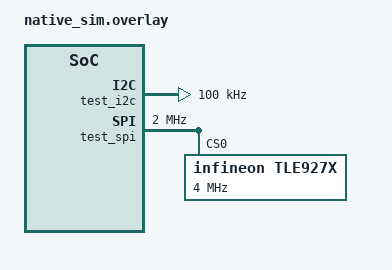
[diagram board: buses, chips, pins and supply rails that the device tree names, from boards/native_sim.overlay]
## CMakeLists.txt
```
# Copyright (c) 2023 Nordic Semiconductor ASA
# SPDX-License-Identifier: Apache-2.0

cmake_minimum_required(VERSION 3.28.0)
find_package(Zephyr REQUIRED HINTS $ENV{ZEPHYR_BASE})
project(build_all)

target_sources(app PRIVATE src/main.c)
```

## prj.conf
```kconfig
CONFIG_REGULATOR=y
```

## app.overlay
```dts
/*
 * Copyright (c) 2023 Nordic Semiconductor ASA
 * SPDX-License-Identifier: Apache-2.0
 */

/ {
	test {
		#address-cells = <1>;
		#size-cells = <1>;

		test_i2c: i2c@11112222 {
			#address-cells = <1>;
			#size-cells = <0>;
			compatible = "vnd,i2c";
			reg = <0x11112222 0x1000>;
			status = "okay";
			clock-frequency = <100000>;

			#include "i2c.dtsi"
		};

		test_gpio: gpio@deadbeef {
			compatible = "vnd,gpio";
			gpio-controller;
			reg = <0xdeadbeef 0x1000>;
			#gpio-cells = <0x2>;
			status = "okay";
		};

		#include "misc.dtsi"
	};
};
```

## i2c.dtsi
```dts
/*
 * Copyright (c) 2023 Nordic Semiconductor ASA
 * SPDX-License-Identifier: Apache-2.0
 */

/****************************************
 * PLEASE KEEP REG ADDRESSES SEQUENTIAL *
 **************************************
 */

pca9420@0 {
	compatible = "nxp,pca9420";
	reg = <0x0>;

	BUCK1 {};

	BUCK2 {};

	LDO1 {};

	LDO2 {};
};

npm6001@1 {
	compatible = "nordic,npm6001";
	reg = <0x1>;

	regulators {
		compatible = "nordic,npm6001-regulator";

		BUCK0 {};

		BUCK1 {};

		BUCK2 {};

		BUCK3 {};

		LDO0 {};

		LDO1 {};
	};
};

npm1300@2 {
	compatible = "nordic,npm1300";
	reg = <0x2>;

	regulators {
		compatible = "nordic,npm1300-regulator";

		BUCK1 {};

		BUCK2 {};

		LDO1 {};

		LDO2 {};
	};
};

apd356x@3 {
	compatible = "adi,adp5360";
	reg = <0x3>;

	regulators {
		compatible = "adi,adp5360-regulator";

		BUCK {};

		BUCKBOOST {};
	};
};

axp192@4 {
	compatible = "x-powers,axp192";
	reg = <0x4>;

	regulators {
		compatible = "x-powers,axp192-regulator";

		DCDC1 {};

		DCDC2 {};

		DCDC3 {};

		LDOIO0 {};

		LDO1 {};

		LDO2 {};

		LDO3 {};
	};
};

axp2101@7 {
	compatible = "x-powers,axp2101";
	reg = <0x7>;

	regulators {
		compatible = "x-powers,axp2101-regulator";

		DCDC1 {};

		DCDC2 {};

		DCDC3 {};

		DCDC4 {};

		DCDC5 {};

		ALDO1 {};

		ALDO2 {};

		ALDO3 {};

		ALDO4 {};

		BLDO1 {};

		BLDO2 {};

		CPUSLDO {};

		DLDO1 {};

		DLDO2 {};
	};
};

max20335@5 {
	compatible = "maxim,max20335";
	reg = <0x5>;

	regulators {
		compatible = "maxim,max20335-regulator";

		BUCK1 {};

		BUCK2 {};

		LDO1 {};

		LDO2 {};

		LDO3 {};
	};
};

cp9314@6 {
	compatible = "cirrus,cp9314";
	reg = <0x6>;

	cirrus,initial-switched-capacitor-mode = "2:1";
};

mpm54304@7 {
	compatible = "mps,mpm54304";
	reg = <0x7>;

	BUCK1 {};

	BUCK2 {};

	BUCK3 {};

	BUCK4 {};
};

npm2100@8 {
	compatible = "nordic,npm2100";
	reg = <0x8>;

	regulators {
		compatible = "nordic,npm2100-regulator";

		BOOST {};

		LDOSW {};
	};
};

npm1304@9 {
	compatible = "nordic,npm1304";
	reg = <0x9>;

	regulators {
		compatible = "nordic,npm1304-regulator";

		BUCK1 {};

		BUCK2 {};

		LDO1 {};

		LDO2 {};
	};
};
```

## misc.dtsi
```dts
/*
 * Copyright (c) 2023 Nordic Semiconductor ASA
 * SPDX-License-Identifier: Apache-2.0
 */

regulator-fixed {
	compatible = "regulator-fixed";
	regulator-name = "test";
	enable-gpios = <&test_gpio 0 GPIO_ACTIVE_HIGH>;
};

npm1100 {
	compatible = "nordic,npm1100";

	BUCK { };
};
```

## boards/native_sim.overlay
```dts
/*
 * Copyright (c) 2023 Nordic Semiconductor ASA
 * SPDX-License-Identifier: Apache-2.0
 */

#include <zephyr/dt-bindings/regulator/tle927x.h>

/ {
	test {
		#address-cells = <1>;
		#size-cells = <1>;

		test_i2c: i2c@11112222 {
			compatible = "vnd,i2c";
			reg = <0x11112222 0x1000>;
			#address-cells = <1>;
			#size-cells = <0>;
			clock-frequency = <100000>;
			status = "okay";

#include "native_sim_i2c.dtsi"
		};

		test_spi: spi@33334444 {
			compatible = "vnd,spi";
			reg = <0x33334444 0x1000>;
			#address-cells = <1>;
			#size-cells = <0>;
			clock-frequency = <2000000>;
			status = "okay";

			tle927x@0 {
				compatible = "infineon,tle927x";
				reg = <0>;
				spi-max-frequency = <4000000>;
				status = "okay";

				vcc2 {
					compatible = "infineon,tle927x-vcc2";
					regulator-initial-mode = <TLE927X_VCC2_MODE_NORMAL_STOP>;
				};
			};
		};

		test_gpio: gpio@deadbeef {
			compatible = "vnd,gpio";
			reg = <0xdeadbeef 0x1000>;
			gpio-controller;
			#gpio-cells = <0x2>;
			status = "okay";
		};

#include "native_sim_misc.dtsi"
	};
};
```

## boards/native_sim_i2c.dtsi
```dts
/*
 * Copyright (c) 2023 Nordic Semiconductor ASA
 * SPDX-License-Identifier: Apache-2.0
 */

/****************************************
 * PLEASE KEEP REG ADDRESSES SEQUENTIAL *
 **************************************
 */

pca9420@0 {
	compatible = "nxp,pca9420";
	reg = <0x0>;

	BUCK1 {};

	BUCK2 {};

	LDO1 {};

	LDO2 {};
};

npm6001@1 {
	compatible = "nordic,npm6001";
	reg = <0x1>;

	regulators {
		compatible = "nordic,npm6001-regulator";

		BUCK0 {};

		BUCK1 {};

		BUCK2 {};

		BUCK3 {};

		LDO0 {};

		LDO1 {};
	};
};

npm1300@2 {
	compatible = "nordic,npm1300";
	reg = <0x2>;

	regulators {
		compatible = "nordic,npm1300-regulator";

		BUCK1 {};

		BUCK2 {};

		LDO1 {};

		LDO2 {};
	};
};

adp5360@3 {
	compatible = "adi,adp5360";
	reg = <0x3>;

	regulators {
		compatible = "adi,adp5360-regulator";

		BUCK {
			regulator-init-microvolt = <1300000>;
		};

		BUCKBOOST {
			regulator-init-microvolt = <3300000>;
		};
	};
};

axp192@4 {
	compatible = "x-powers,axp192";
	reg = <0x4>;

	regulators {
		compatible = "x-powers,axp192-regulator";

		DCDC1 {};

		DCDC2 {};

		DCDC3 {};

		LDOIO0 {};

		LDO1 {};

		LDO2 {};

		LDO3 {};
	};
};

axp2101@7 {
	compatible = "x-powers,axp2101";
	reg = <0x7>;

	regulators {
		compatible = "x-powers,axp2101-regulator";

		DCDC1 {};

		DCDC2 {};

		DCDC3 {};

		DCDC4 {};

		DCDC5 {};

		ALDO1 {};

		ALDO2 {};

		ALDO3 {};

		ALDO4 {};

		BLDO1 {};

		BLDO2 {};

		CPUSLDO {};

		DLDO1 {};

		DLDO2 {};
	};
};

m5pm1@6e {
	compatible = "m5stack,m5pm1";
	reg = <0x6e>;

	regulators {
		compatible = "m5stack,m5pm1-regulator";

		dcdc_3v3 {
			regulator-min-microvolt = <3300000>;
			regulator-max-microvolt = <3300000>;
		};

		ldo_3v3 {
			regulator-min-microvolt = <3300000>;
			regulator-max-microvolt = <3300000>;
		};

		boost_5v {
			regulator-min-microvolt = <5000000>;
			regulator-max-microvolt = <5000000>;
		};
	};
};

max20335@5 {
	compatible = "maxim,max20335";
	reg = <0x5>;

	regulators {
		compatible = "maxim,max20335-regulator";

		BUCK1 {};

		BUCK2 {};

		LDO1 {};

		LDO2 {};

		LDO3 {};
	};
};

cp9314@6 {
	compatible = "cirrus,cp9314";
	reg = <0x6>;

	cirrus,initial-switched-capacitor-mode = "2:1";
};

mpm54304@7 {
	compatible = "mps,mpm54304";
	reg = <0x7>;

	BUCK1 {};

	BUCK2 {};

	BUCK3 {};

	BUCK4 {};
};

npm2100@8 {
	compatible = "nordic,npm2100";
	reg = <0x8>;

	regulators {
		compatible = "nordic,npm2100-regulator";

		BOOST {};

		LDOSW {};
	};
};

npm1304@9 {
	compatible = "nordic,npm1304";
	reg = <0x9>;

	regulators {
		compatible = "nordic,npm1304-regulator";

		BUCK1 {};

		BUCK2 {};

		LDO1 {};

		LDO2 {};
	};
};

tps55287@a {
	compatible = "ti,tps55287";
	reg = <0xa>;
};

npm10xx@b {
	compatible = "nordic,npm10xx";
	reg = <0xb>;

	regulators {
		compatible = "nordic,npm10xx-regulator";

		BUCK {};

		LDO {};

		LDSW {};
	};
};

max20362@c {
	compatible = "adi,max20362-regulator";
	reg = <0xc>;
	bat-bbin-vdrop = <0>;
	dvs-src = <0>;
	ldo-src = <1>;

	bboost {};

	cap {};

	ldo {};
};

tps62873@d {
	compatible = "ti,tps6287x";
	reg = <0xd>;
	input-voltage-microvolt = <5000000>;
	regulator-init-microvolt = <1100000>;
	regulator-min-microvolt = <400000>;
	regulator-max-microvolt = <3350000>;
	regulator-boot-on;
};

bq25896@e {
	compatible = "ti,bq25896";
	reg = <0xe>;

	regulator {
		compatible = "ti,bq25896-regulator";
		regulator-init-microvolt = <4998000>;
		regulator-init-microamp = <500000>;
	};
};

sy6970@f {
	compatible = "silergy,sy6970";
	reg = <0xf>;

	regulator {
		compatible = "silergy,sy6970-regulator";
	};
};
```

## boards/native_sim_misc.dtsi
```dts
/*
 * Copyright (c) 2023 Nordic Semiconductor ASA
 * SPDX-License-Identifier: Apache-2.0
 */

regulator-fixed {
	compatible = "regulator-fixed";
	regulator-name = "test";
	enable-gpios = <&test_gpio 0 GPIO_ACTIVE_HIGH>;
};

npm1100 {
	compatible = "nordic,npm1100";

	BUCK {};
};
```

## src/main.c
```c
/*
 * Copyright (c) 2023 Nordic Semiconductor ASA
 * SPDX-License-Identifier: Apache-2.0
 */

int main(void)
{
	return 0;
}
```
